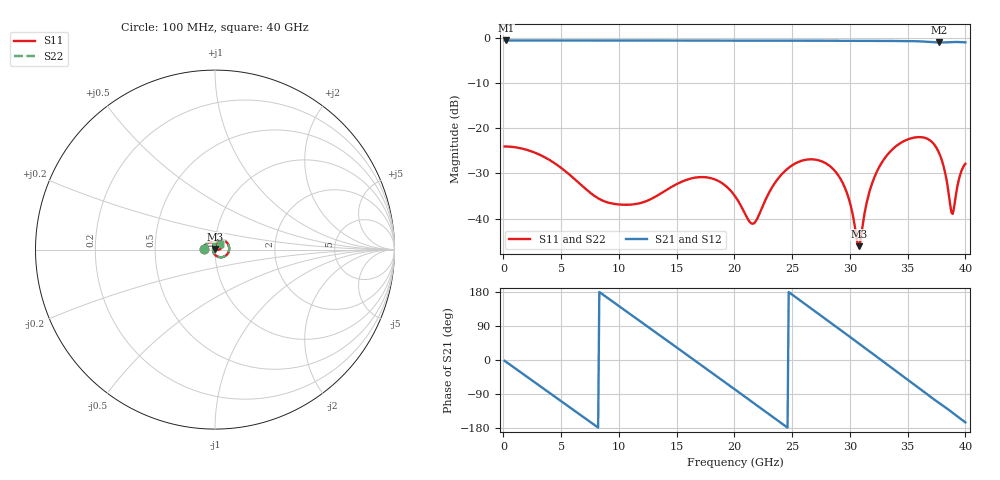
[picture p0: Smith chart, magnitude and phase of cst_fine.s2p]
! T_vna6_cpwg_10: Coplanar waveguide with ground, LibreVNA RF class (w 0.35, gap 0.18 mm), 10 mm
! stackup: LibreVNA 6-layer (7628 / FR-4, from the board file)
! ports: 1 near A, 2 far A
! CST Studio Suite 2025.5 Release from 2025-05-30, time domain (FIT, hexahedral, PBA), 539136 mesh cells, 95 s
! mesh: {'lpw': 30.0, 'lpb': 30.0, 'minstep': 0.0, 'ratio': 20}; ports: port 1 (face); port 2 (face)
! interpolated from CST's 1001 samples to the case grid
# Hz S RI R 50
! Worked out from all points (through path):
!   400 points, 100 MHz to 40 GHz, reference 50 ohm
!   highest |S21| = -0.56 dB at 200 MHz (marker M1); lowest = -1.0 dB at 37.7 GHz (marker M2)
!   group delay of S21, straight-line fit = 61.4 ps
!   lowest |S11| = -46.1 dB at 30.8 GHz (marker M3), VSWR 1.01, Z = 50.3 + j0.411 ohm
!   |S11| at or under -10 dB: start of sweep to end of sweep
!   |S22| runs from -46.1 to -22.0 dB; largest |S21 - S12| = 2.2e-07
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1e8  -0.0628 0.00192  0.9364 -0.0356  0.9364 -0.0356  -0.0628 0.00192
2e8  -0.0627 0.00383  0.9344 -0.0711  0.9344 -0.0711  -0.0627 0.00383
3.7e9  -0.0224 0.041  0.1554 -0.9236  0.1554 -0.9236  -0.0224 0.041
6.8e9  0.000522 0.0231  -0.7926 -0.4976  -0.7926 -0.4976  0.000522 0.0231
9.6e9  -0.00247 0.0143  -0.8192 0.4517  -0.8192 0.4517  -0.00247 0.0143
1.16e10  -0.00506 0.0137  -0.2809 0.892  -0.2809 0.892  -0.00506 0.0137
1.34e10  -0.0079 0.0164  0.3482 0.8676  0.3482 0.8676  -0.0079 0.0164
1.52e10  -0.00669 0.0238  0.8195 0.4488  0.8195 0.4488  -0.00669 0.0238
1.67e10  0.00113 0.0285  0.9315 -0.0682  0.9315 -0.0682  0.00113 0.0285
2.01e10  0.0124 0.0121  0.1785 -0.9161  0.1785 -0.9161  0.0124 0.0121
2.16e10  0.0019 0.00854  -0.3509 -0.8648  -0.3509 -0.8648  0.0019 0.00854
2.37e10  -0.00627 0.0261  -0.868 -0.3403  -0.868 -0.3403  -0.00627 0.0261
2.52e10  0.00746 0.0396  -0.9116 0.1921  -0.9116 0.1921  0.00746 0.0396
2.67e10  0.0288 0.0349  -0.6553 0.6605  -0.6553 0.6605  0.0288 0.0349
2.93e10  0.0259 0.000428  0.213 0.905  0.213 0.905  0.0259 0.000428
3.08e10  0.00278 0.00409  0.6799 0.6345  0.6799 0.6345  0.00278 0.00409
3.18e10  -0.00471 0.0215  0.8696 0.3254  0.8696 0.3254  -0.00471 0.0215
3.34e10  0.0155 0.0513  0.8918 -0.2517  0.8918 -0.2517  0.0155 0.0513
3.57e10  0.0749 0.0258  0.3436 -0.8528  0.3436 -0.8528  0.0749 0.0258
3.77e10  0.0331 -0.0427  -0.3439 -0.8209  -0.3439 -0.8209  0.0331 -0.0427
3.89e10  -0.011 0.00251  -0.6826 -0.5875  -0.6826 -0.5875  -0.011 0.00251
4e10  0.0257 0.0312  -0.8609 -0.2376  -0.8609 -0.2376  0.0257 0.0312
